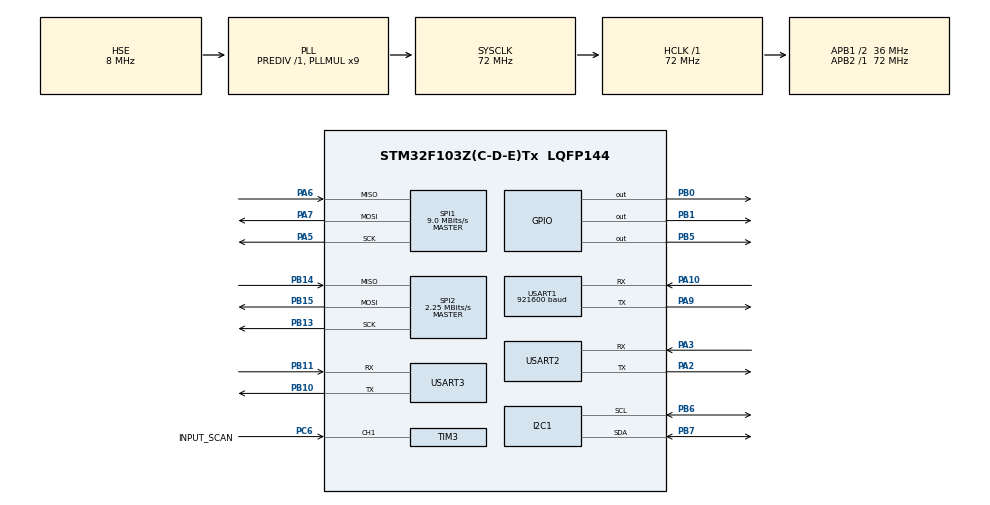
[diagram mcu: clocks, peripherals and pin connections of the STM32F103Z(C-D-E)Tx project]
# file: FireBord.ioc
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ADC1.Channel-0\#ChannelRegularConversion=ADC_CHANNEL_VREFINT
ADC1.Channel-1\#ChannelRegularConversion=ADC_CHANNEL_TEMPSENSOR
ADC1.ContinuousConvMode=ENABLE
ADC1.NbrOfConversion=2
ADC1.NbrOfConversionFlag=1
ADC1.Rank-0\#ChannelRegularConversion=1
ADC1.Rank-1\#ChannelRegularConversion=2
ADC1.SamplingTime-0\#ChannelRegularConversion=ADC_SAMPLETIME_41CYCLES_5
ADC1.SamplingTime-1\#ChannelRegularConversion=ADC_SAMPLETIME_55CYCLES_5
ADC1.master=1
Dma.ADC1.0.Direction=DMA_PERIPH_TO_MEMORY
Dma.ADC1.0.Instance=DMA1_Channel1
Dma.ADC1.0.MemDataAlignment=DMA_MDATAALIGN_HALFWORD
Dma.ADC1.0.MemInc=DMA_MINC_ENABLE
Dma.ADC1.0.Mode=DMA_CIRCULAR
Dma.ADC1.0.PeriphDataAlignment=DMA_PDATAALIGN_HALFWORD
Dma.ADC1.0.PeriphInc=DMA_PINC_DISABLE
Dma.ADC1.0.Priority=DMA_PRIORITY_LOW
Dma.Request0=ADC1
Mcu.Family=STM32F1
Mcu.Name=STM32F103Z(C-D-E)Tx
Mcu.Package=LQFP144
NVIC.ADC1_2_IRQn=true\:1\:0\:true\:false\:true\:true\:true\:true
NVIC.DMA1_Channel1_IRQn=true\:0\:0\:false\:false\:true\:false\:true\:true
NVIC.PriorityGroup=NVIC_PRIORITYGROUP_4
NVIC.TIM2_IRQn=true\:0\:0\:false\:false\:true\:true\:true\:true
NVIC.TIM3_IRQn=true\:0\:0\:false\:false\:true\:true\:true\:true
NVIC.USART1_IRQn=true\:5\:0\:true\:false\:true\:true\:true\:true
NVIC.USART2_IRQn=true\:6\:0\:true\:false\:true\:true\:true\:true
NVIC.USART3_IRQn=true\:7\:0\:true\:false\:true\:true\:true\:true
OSC_IN.Mode=HSE-External-Oscillator
OSC_IN.Signal=RCC_OSC_IN
OSC_OUT.Mode=HSE-External-Oscillator
OSC_OUT.Signal=RCC_OSC_OUT
PA10.Mode=Asynchronous
PA10.Signal=USART1_RX
PA13.Mode=Serial_Wire
PA13.Signal=SYS_JTMS-SWDIO
PA14.Mode=Serial_Wire
PA14.Signal=SYS_JTCK-SWCLK
PA2.Mode=Asynchronous
PA2.Signal=USART2_TX
PA3.Mode=Asynchronous
PA3.Signal=USART2_RX
PA5.Mode=Full_Duplex_Master
PA5.Signal=SPI1_SCK
PA6.Mode=Full_Duplex_Master
PA6.Signal=SPI1_MISO
PA7.Mode=Full_Duplex_Master
PA7.Signal=SPI1_MOSI
PA9.Mode=Asynchronous
PA9.Signal=USART1_TX
PB0.Signal=GPIO_Output
PB1.GPIO_PuPd=GPIO_PULLUP
PB1.PinState=GPIO_PIN_SET
PB1.Signal=GPIO_Output
PB10.Mode=Asynchronous
PB10.Signal=USART3_TX
PB11.Mode=Asynchronous
PB11.Signal=USART3_RX
PB13.Mode=Full_Duplex_Master
PB13.Signal=SPI2_SCK
PB14.Mode=Full_Duplex_Master
PB14.Signal=SPI2_MISO
PB15.Mode=Full_Duplex_Master
PB15.Signal=SPI2_MOSI
PB5.GPIO_PuPd=GPIO_PULLUP
PB5.PinState=GPIO_PIN_SET
PB5.Signal=GPIO_Output
PB6.Mode=I2C
PB6.Signal=I2C1_SCL
PB7.Mode=I2C
PB7.Signal=I2C1_SDA
PC6.GPIO_Label=INPUT_SCAN
PC6.Signal=S_TIM3_CH1
ProjectManager.HeapSize=0x200
ProjectManager.StackSize=0x400
ProjectManager.TargetToolchain=Makefile
RCC.ADCPresc=RCC_ADCPCLK2_DIV6
RCC.AHBFreq_Value=72000000
RCC.APB1CLKDivider=RCC_HCLK_DIV2
RCC.APB1Freq_Value=36000000
RCC.APB1TimFreq_Value=72000000
RCC.APB2Freq_Value=72000000
RCC.APB2TimFreq_Value=72000000
RCC.HCLKFreq_Value=72000000
RCC.PLLMUL=RCC_PLL_MUL9
RCC.PLLSourceVirtual=RCC_PLLSOURCE_HSE
RCC.SYSCLKFreq_VALUE=72000000
RCC.SYSCLKSource=RCC_SYSCLKSOURCE_PLLCLK
RCC.USBFreq_Value=72000000
SH.S_TIM3_CH1.0=TIM3_CH1,Input_Capture1_from_TI1
SPI1.BaudRatePrescaler=SPI_BAUDRATEPRESCALER_8
SPI1.CLKPhase=SPI_PHASE_2EDGE
SPI1.CLKPolarity=SPI_POLARITY_HIGH
SPI1.CalculateBaudRate=9.0 MBits/s
SPI1.Direction=SPI_DIRECTION_2LINES
SPI1.Mode=SPI_MODE_MASTER
SPI1.VirtualType=VM_MASTER
SPI2.BaudRatePrescaler=SPI_BAUDRATEPRESCALER_16
SPI2.CLKPhase=SPI_PHASE_2EDGE
SPI2.CLKPolarity=SPI_POLARITY_LOW
SPI2.CalculateBaudRate=2.25 MBits/s
SPI2.Direction=SPI_DIRECTION_2LINES
SPI2.Mode=SPI_MODE_MASTER
SPI2.VirtualType=VM_MASTER
TIM2.AutoReloadPreload=TIM_AUTORELOAD_PRELOAD_ENABLE
TIM2.Period=50-1
TIM2.Prescaler=7200-1
TIM3.AutoReloadPreload=TIM_AUTORELOAD_PRELOAD_ENABLE
TIM3.Channel-Input_Capture1_from_TI1=TIM_CHANNEL_1
TIM3.ICFilter_CH1=15
TIM3.ICPolarity_CH1=TIM_INPUTCHANNELPOLARITY_FALLING
TIM3.Period=10000-1
TIM3.Prescaler=7200-1
USART1.BaudRate=921600
USART1.VirtualMode=VM_ASYNC
USART2.VirtualMode=VM_ASYNC
USART3.VirtualMode=VM_ASYNC
VP_ADC1_TempSens_Input.Mode=IN-TempSens
VP_ADC1_Vref_Input.Mode=IN-Vrefint
VP_TIM2_VS_ClockSourceINT.Mode=Internal
VP_TIM3_VS_ClockSourceINT.Mode=Internal
board=custom

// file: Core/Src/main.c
/* USER CODE BEGIN Header */
/**
  ******************************************************************************
  * @file           : main.c
  * @brief          : Main program body
  ******************************************************************************
  * @attention
  *
  * Copyright (c) 2025 STMicroelectronics.
  * All rights reserved.
  *
  * This software is licensed under terms that can be found in the LICENSE file
  * in the root directory of this software component.
  * If no LICENSE file comes with this software, it is provided AS-IS.
  *
  ******************************************************************************
  */
/* USER CODE END Header */
#include "main.h"
#include "adc.h"
#include "dma.h"
#include "i2c.h"
#include "spi.h"
#include "tim.h"
#include "usart.h"
#include "gpio.h"

void SystemClock_Config(void);

int main(void)
{

  /* MCU Configuration--------------------------------------------------------*/

  /* Reset of all peripherals, Initializes the Flash interface and the Systick. */
  HAL_Init();

  /* Configure the system clock */
  SystemClock_Config();

  /* Initialize all configured peripherals */
  //MX_GPIO_Init();
  MX_DMA_Init();
  MX_I2C1_Init();
  MX_USART1_UART_Init();
  MX_USART2_UART_Init();
  MX_USART3_UART_Init();
  MX_ADC1_Init();
  MX_TIM2_Init();
  MX_TIM3_Init();
  MX_SPI1_Init();
  MX_SPI2_Init();
  /* USER CODE BEGIN 2 */
  GPIO_SPICS_Init();
  GPIO_LED_Init();
  IIC_GPIO_Init();
  ESP8266_GPIO_Config();
  HAL_UART_Receive_IT(&huart1, &usbRxBuf, 1);
  HAL_UART_Receive_IT(&huart2, &deviceRxBuf, 1);
  HAL_UART_Receive_IT(&huart3, &wifiRxBuf, 1);

  UsbPrintf("Fier Board V1.1 update on %s at %s\r\n",__DATE__, __TIME__);
  uint32_t systemTick = 0 ;
  //macESP8266_CH_ENABLE();   //使能 ESP8266

  HAL_TIM_Base_Start_IT(&htim2);//按键定时器
  Button_Manage();//按键函数

  HAL_TIM_Base_Start_IT(&htim3);
	HAL_TIM_IC_Start_IT(&htim3,TIM_CHANNEL_1);
  //uint16_t adcValue[2]={0,0};
  //HAL_ADC_Start_DMA(&hadc1,(uint32_t *)adcValue,2);

  ResdFlashId();
  //ResdRTC();
  /* USER CODE END 2 */

  /* Infinite loop */
  while (1)
  {

    /* USER CODE BEGIN 3 */
   //Get_freq();
    if (systemTick != HAL_GetTick())
    {
      CheckCommandList();
      DeviceMassage();
      //show_wifi_Message();WIFI消息

      if (systemTick % 1000 == 0)
      {

      }
      if (systemTick % 5 == 0)
      {
       // button_ticks();
      }
      systemTick = HAL_GetTick();
    }
  }
  /* USER CODE END 3 */
}

void SystemClock_Config(void)
{
  RCC_OscInitTypeDef RCC_OscInitStruct = {0};
  RCC_ClkInitTypeDef RCC_ClkInitStruct = {0};
  RCC_PeriphCLKInitTypeDef PeriphClkInit = {0};

  /** Initializes the RCC Oscillators according to the specified parameters
  * in the RCC_OscInitTypeDef structure.
  */
  RCC_OscInitStruct.OscillatorType = RCC_OSCILLATORTYPE_HSE;
  RCC_OscInitStruct.HSEState = RCC_HSE_ON;
  RCC_OscInitStruct.HSEPredivValue = RCC_HSE_PREDIV_DIV1;
  RCC_OscInitStruct.HSIState = RCC_HSI_ON;
  RCC_OscInitStruct.PLL.PLLState = RCC_PLL_ON;
  RCC_OscInitStruct.PLL.PLLSource = RCC_PLLSOURCE_HSE;
  RCC_OscInitStruct.PLL.PLLMUL = RCC_PLL_MUL9;
  if (HAL_RCC_OscConfig(&RCC_OscInitStruct) != HAL_OK)
  {
    Error_Handler();
  }

  /** Initializes the CPU, AHB and APB buses clocks
  */
  RCC_ClkInitStruct.ClockType = RCC_CLOCKTYPE_HCLK|RCC_CLOCKTYPE_SYSCLK
                              |RCC_CLOCKTYPE_PCLK1|RCC_CLOCKTYPE_PCLK2;
  RCC_ClkInitStruct.SYSCLKSource = RCC_SYSCLKSOURCE_PLLCLK;
  RCC_ClkInitStruct.AHBCLKDivider = RCC_SYSCLK_DIV1;
  RCC_ClkInitStruct.APB1CLKDivider = RCC_HCLK_DIV2;
  RCC_ClkInitStruct.APB2CLKDivider = RCC_HCLK_DIV1;

  if (HAL_RCC_ClockConfig(&RCC_ClkInitStruct, FLASH_LATENCY_2) != HAL_OK)
  {
    Error_Handler();
  }
  PeriphClkInit.PeriphClockSelection = RCC_PERIPHCLK_ADC;
  PeriphClkInit.AdcClockSelection = RCC_ADCPCLK2_DIV6;
  if (HAL_RCCEx_PeriphCLKConfig(&PeriphClkInit) != HAL_OK)
  {
    Error_Handler();
  }
}

void Error_Handler(void)
{
  __disable_irq();
  while (1)
  {
  }
}
